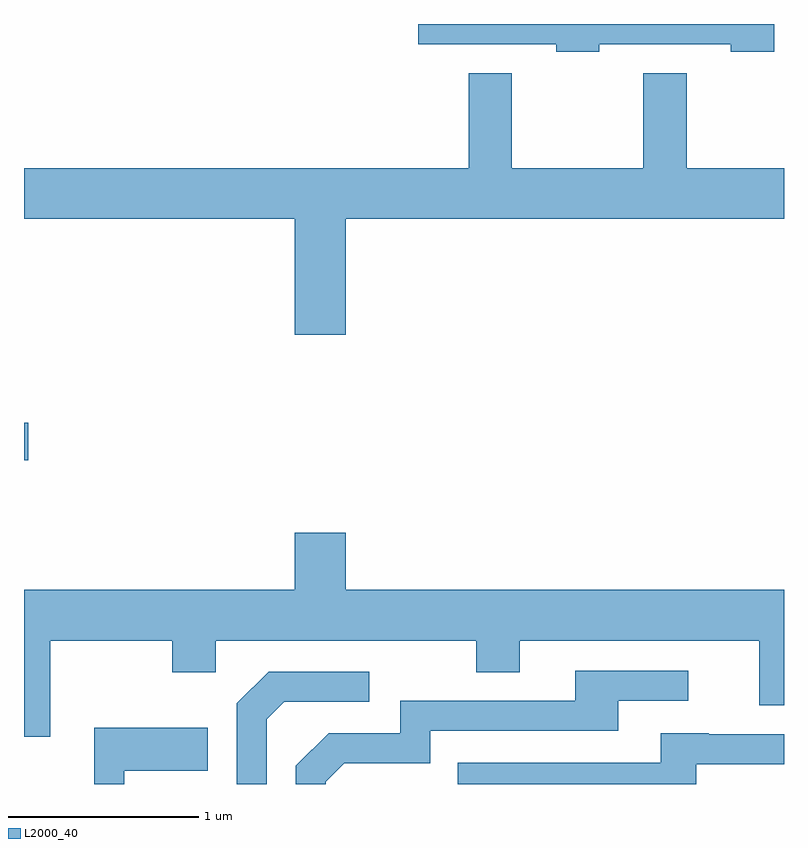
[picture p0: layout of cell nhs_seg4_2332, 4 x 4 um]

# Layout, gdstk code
import gdstk
lib = gdstk.Library(unit=1e-6, precision=1e-09)
def R(c, l, rs):  # rectangles x0, y0, x1, y1
    for r in rs: c.add(gdstk.rectangle(r[:2], r[2:], *l))
def P(c, l, *ps):  # polygons
    for p in ps: c.add(gdstk.Polygon(p, *l))
L2000_40 = (2000, 40)

nhs_seg4_2332 = lib.new_cell('nhs_seg4_2332')
R(nhs_seg4_2332, L2000_40, [(253.611,1295.686,253.634,1295.884)])
P(nhs_seg4_2332, L2000_40, [(256.639,1297.876),(257.331,1297.876),(257.331,1297.836),(257.559,1297.836),(257.559,1297.982),(255.686,1297.982),(255.686,1297.876),(256.411,1297.876),(256.411,1297.836),(256.639,1297.836)],
  [(255.304,1296.956),(257.611,1296.956),(257.611,1297.224),(257.099,1297.224),(257.099,1297.724),(256.871,1297.724),(256.871,1297.224),(256.179,1297.224),(256.179,1297.724),(255.951,1297.724),(255.951,1297.224),(253.611,1297.224),(253.611,1296.956),(255.036,1296.956),(255.036,1296.346),(255.304,1296.346)],
  [(253.749,1294.736),(254.391,1294.736),(254.391,1294.571),(254.619,1294.571),(254.619,1294.736),(255.991,1294.736),(255.991,1294.571),(256.219,1294.571),(256.219,1294.736),(257.481,1294.736),(257.481,1294.396),(257.611,1294.396),(257.611,1295.004),(255.304,1295.004),(255.304,1295.304),(255.036,1295.304),(255.036,1295.004),(253.611,1295.004),(253.611,1294.231),(253.749,1294.231)],
  [(255.199,1293.994),(255.297,1294.091),(255.749,1294.091),(255.749,1294.261),(256.739,1294.261),(256.739,1294.421),(257.108,1294.421),(257.108,1294.579),(256.511,1294.579),(256.511,1294.419),(255.591,1294.419),(255.591,1294.249),(255.214,1294.249),(255.041,1294.077),(255.041,1293.982),(255.199,1293.982)],
  [(254.889,1294.324),(254.982,1294.416),(255.428,1294.416),(255.428,1294.574),(254.899,1294.574),(254.731,1294.407),(254.731,1293.982),(254.889,1293.982)],
  [(254.139,1294.051),(254.579,1294.051),(254.579,1294.279),(253.981,1294.279),(253.981,1293.982),(254.139,1293.982)],
  [(257.149,1294.086),(257.611,1294.086),(257.611,1294.244),(257.215,1294.244),(257.215,1294.249),(256.961,1294.249),(256.961,1294.094),(255.893,1294.094),(255.893,1293.982),(257.149,1293.982)])

lib.write_gds('nhs_seg4_2332.gds')
